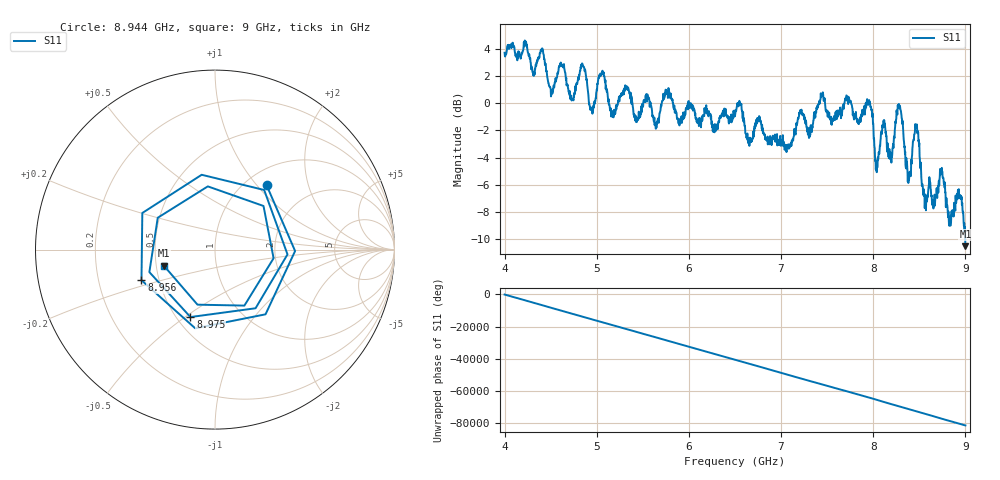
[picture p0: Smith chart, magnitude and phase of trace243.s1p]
! Created with skrf 1.8.0 (http://scikit-rf.org).
# Hz S RI R 50.0
!freq ReS11 ImS11
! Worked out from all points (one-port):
!   1601 points, 4 GHz to 9 GHz, reference 50 ohm
!   lowest |S11| = -10.5 dB at 9 GHz (marker M1), VSWR 1.85, Z = 27.5 - j5.4 ohm
!   |S11| at or under -10 dB: 8.997714 GHz to end of sweep
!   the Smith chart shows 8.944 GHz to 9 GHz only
!   S11 on the Smith chart (normalised r, x): 8.944 GHz: 1.24, +1.13; 8.956 GHz: 0.40, -0.17; 8.975 GHz: 0.59, -0.52; 9 GHz: 0.55, -0.11
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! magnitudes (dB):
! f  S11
! 4 GHz  3.7
! 4.406 GHz  3.9
! 4.506 GHz  0.6
! 4.625 GHz  2.8
! 4.728 GHz  0.2
! 4.85 GHz  2.7
! 4.941 GHz  -0.4
! 5.053 GHz  2.1
! 5.166 GHz  -1.0
! 5.25 GHz  0.6
! 5.875 GHz  -1.1
! 6.5 GHz  -0.9
! 7.125 GHz  -2.6
! 7.434 GHz  0.5
! 7.75 GHz  0.2
! 7.959 GHz  -0.1
! 8.044 GHz  -4.7
! 8.109 GHz  -1.7
! 8.197 GHz  -4.4
! 8.288 GHz  -0.2
! 8.375 GHz  -5.8
! 8.469 GHz  -1.8
! 8.566 GHz  -6.7
! 8.738 GHz  -5.0
! 8.944 GHz  -6.7
! 8.956 GHz  -7.1
! 8.975 GHz  -8.0
! 9 GHz  -10.5
